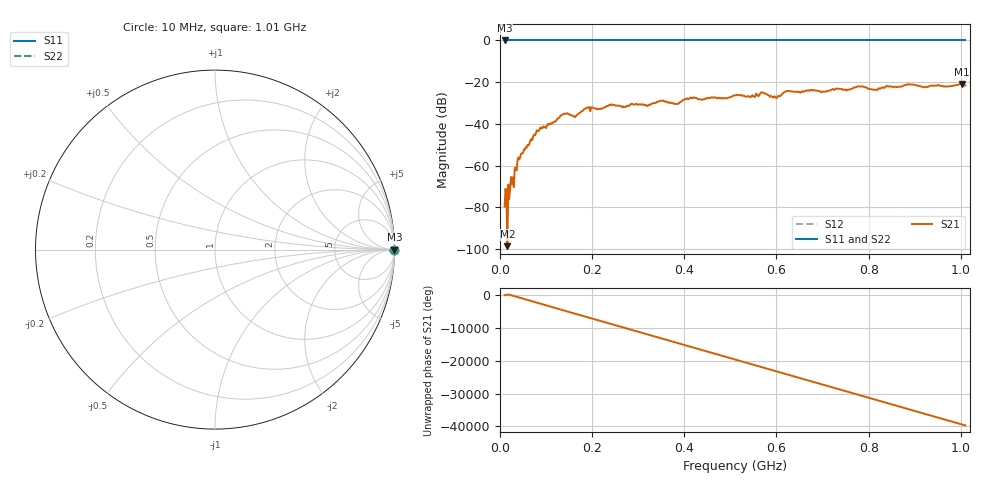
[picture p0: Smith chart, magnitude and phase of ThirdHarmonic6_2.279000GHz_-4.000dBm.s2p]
! 8/17/2025 2:56:22 AM
! C:\ANRITSUVNA\TEMP\TEMP.S2P
! CHANNEL.1
! TR.MEASUREMENT
! RAW.DATA
! RF.CORRECTION.OFF
! AVERAGING.OFF
! IF.BANDWIDTH: 5KHZ
! SWEEPTYPE:  FREQ.SWEEP(Linear)
! Reference Plane Port Info
! PORT:  PORT1  PORT2
! DISTANCE:  0  m  0  m
! TIME:  0  s  0  s
! PHASE.OFFSET:  0  deg.  0  deg.
! LOSS:  0  dB  0  dB
! REF.LOSS:  0  dB  0  dB
! REF.FREQ:  0  Hz  0  Hz
! Power Info
! POWER:  -20  dBm  -20  dBm
! EFF.POWER:  -20  dBm  -20  dBm
! SOURCE.ATTEN:  0  dB  0  dB
! TEST.ATTEN:  0  dB  0  dB
# GHZ S RI R 50.0
! FREQ.GHZ  S11RE  S11IM  S21RE  S21IM  S12RE  S12IM  S22RE  S22IM
!; PortSelection: Port_12
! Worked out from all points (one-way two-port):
!   501 points, 10 MHz to 1.01 GHz, reference 50 ohm
!   highest |S21| = -20.80 dB at 1.002 GHz (marker M1); lowest = -98.6 dB at 16 MHz (marker M2)
!   lowest |S11| = 0.0 dB at 10 MHz (marker M3)
!   |S11| at or under -10 dB: nowhere
!   |S22| runs from 0.0 to 0.0 dB; largest |S21 - S12| = 1.1
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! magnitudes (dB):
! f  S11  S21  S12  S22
! 10 MHz  0.0  -79.7  0.0  0.0
! 16 MHz  0.0  -98.6  0.0  0.0
! 18 MHz  0.0  -69.1  0.0  0.0
! 42 MHz  0.0  -57.0  0.0  0.0
! 78 MHz  0.0  -44.4  0.0  0.0
! 136 MHz  0.0  -35.5  0.0  0.0
! 162 MHz  0.0  -36.8  0.0  0.0
! 178 MHz  0.0  -33.9  0.0  0.0
! 190 MHz  0.0  -32.3  0.0  0.0
! 344 MHz  0.0  -29.4  0.0  0.0
! 382 MHz  0.0  -30.4  0.0  0.0
! 416 MHz  0.0  -27.7  0.0  0.0
! 510 MHz  0.0  -26.3  0.0  0.0
! 570 MHz  0.0  -25.0  0.0  0.0
! 596 MHz  0.0  -26.8  0.0  0.0
! 622 MHz  0.0  -24.3  0.0  0.0
! 678 MHz  0.0  -24.0  0.0  0.0
! 782 MHz  0.0  -22.1  0.0  0.0
! 814 MHz  0.0  -23.6  0.0  0.0
! 844 MHz  0.0  -22.1  0.0  0.0
! 1.002 GHz  0.0  -20.8  0.0  0.0
! 1.01 GHz  0.0  -21.5  0.0  0.0
